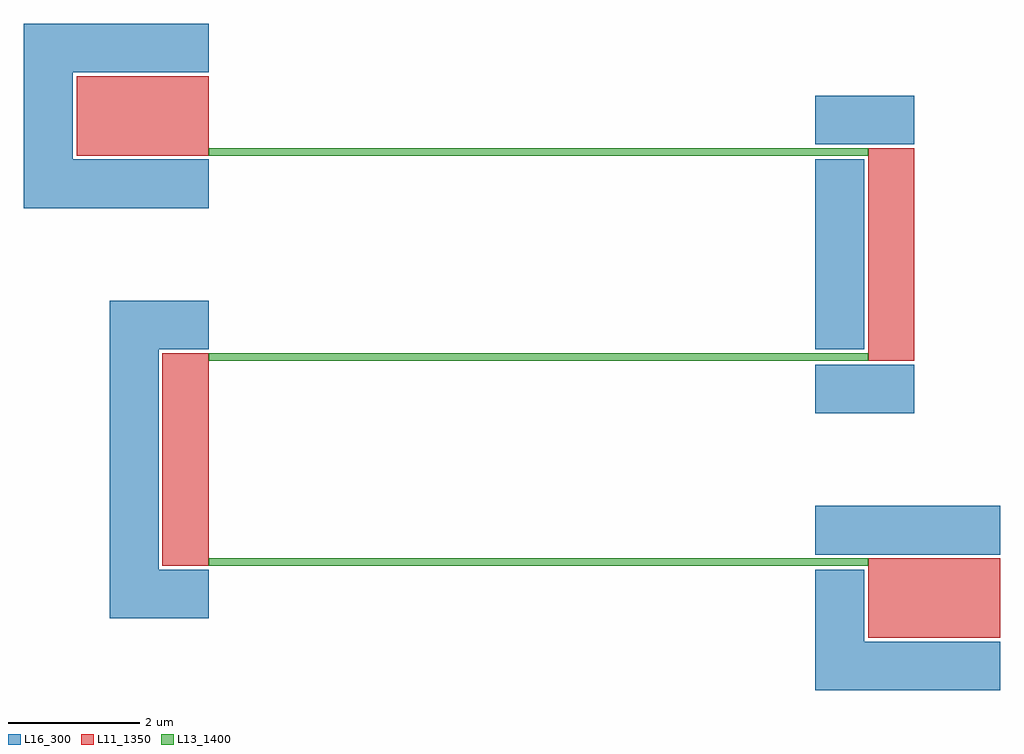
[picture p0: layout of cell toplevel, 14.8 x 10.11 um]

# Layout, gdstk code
import gdstk
lib = gdstk.Library(unit=1e-6, precision=1e-09)
def R(c, l, rs):  # rectangles x0, y0, x1, y1
    for r in rs: c.add(gdstk.rectangle(r[:2], r[2:], *l))
def P(c, l, *ps):  # polygons
    for p in ps: c.add(gdstk.Polygon(p, *l))
L11_1350 = (11, 1350)
L13_1400 = (13, 1400)
L16_300 = (16, 300)

rectangle006 = lib.new_cell('rectangle006')
R(rectangle006, L11_1350, [(0,0,0.7,3.22)])

arm_connector = lib.new_cell('Arm connector')
arm_connector.add(gdstk.Reference(rectangle006, (-0.7,-6.22)))

rectangle008 = lib.new_cell('rectangle008')
R(rectangle008, L11_1350, [(0,0,0.7,3.22)])

arm_connector007 = lib.new_cell('Arm connector007')
arm_connector007.add(gdstk.Reference(rectangle008, (10,-3.11)))

arms = lib.new_cell('Arms')
arms.add(gdstk.Reference(arm_connector, (0,0)))
arms.add(gdstk.Reference(arm_connector007, (0,0)))

rectangle = lib.new_cell('rectangle')
R(rectangle, L13_1400, [(0,0,10,0.11)])

resistive_segment = lib.new_cell('Resistive segment')
resistive_segment.add(gdstk.Reference(rectangle, (0,0)))

rectangle003 = lib.new_cell('rectangle003')
R(rectangle003, L13_1400, [(0,0,10,0.11)])

resistive_segment002 = lib.new_cell('Resistive segment002')
resistive_segment002.add(gdstk.Reference(rectangle003, (0,-3.11)))

rectangle005 = lib.new_cell('rectangle005')
R(rectangle005, L13_1400, [(0,0,10,0.11)])

resistive_segment004 = lib.new_cell('Resistive segment004')
resistive_segment004.add(gdstk.Reference(rectangle005, (0,-6.22)))

resistive_segments = lib.new_cell('Resistive segments')
resistive_segments.add(gdstk.Reference(resistive_segment, (0,0)))
resistive_segments.add(gdstk.Reference(resistive_segment002, (0,0)))
resistive_segments.add(gdstk.Reference(resistive_segment004, (0,0)))

boolean = lib.new_cell('boolean')
P(boolean, L16_300, [(0.7,-0.06),(-0.06,-0.06),(-0.06,3.28),(0.7,3.28),(0.7,4.02),(-0.8,4.02),(-0.8,-0.8),(0.7,-0.8)])

undercut = lib.new_cell('Undercut')
undercut.add(gdstk.Reference(boolean, (-0.7,-6.22)))

boolean009 = lib.new_cell('boolean009')
R(boolean009, L16_300, [(9.2,-3.91,10.7,-3.17), (9.2,-2.94,9.94,-0.06), (9.2,0.17,10.7,0.91)])

boolean013 = lib.new_cell('boolean013')
P(boolean013, L16_300, [(0,-0.06),(-2.06,-0.06),(-2.06,1.26),(0,1.26),(0,2),(-2.8,2),(-2.8,-0.8),(0,-0.8)])

undercut012 = lib.new_cell('Undercut012')
undercut012.add(gdstk.Reference(boolean013, (0,0)))

boolean016 = lib.new_cell('boolean016')
R(boolean016, L16_300, [(9.2,-6.05,12,-5.31)])
P(boolean016, L16_300, [(12,-7.37),(9.94,-7.37),(9.94,-6.28),(9.2,-6.28),(9.2,-8.11),(12,-8.11)])

undercut010 = lib.new_cell('Undercut010')
undercut010.add(gdstk.Reference(undercut012, (0,0)))
undercut010.add(gdstk.Reference(boolean016, (0,0)))

liftoff_undercut = lib.new_cell('Liftoff undercut')
liftoff_undercut.add(gdstk.Reference(undercut, (0,0)))
liftoff_undercut.add(gdstk.Reference(boolean009, (0,0)))
liftoff_undercut.add(gdstk.Reference(undercut010, (0,0)))

rectangle011 = lib.new_cell('rectangle011')
R(rectangle011, L11_1350, [(-2,0,0,1.2)])

connector = lib.new_cell('Connector')
connector.add(gdstk.Reference(rectangle011, (0,0)))

top_connector = lib.new_cell('Top connector')
top_connector.add(gdstk.Reference(connector, (0,0)))

rectangle015 = lib.new_cell('rectangle015')
R(rectangle015, L11_1350, [(-2,0,0,1.2)])

connector014 = lib.new_cell('Connector014')
connector014.add(gdstk.Reference(rectangle015, (12,-7.31)))

bot_connector = lib.new_cell('Bot connector')
bot_connector.add(gdstk.Reference(connector014, (0,0)))

toplevel = lib.new_cell('toplevel')
toplevel.add(gdstk.Reference(arms, (0,0)))
toplevel.add(gdstk.Reference(resistive_segments, (0,0)))
toplevel.add(gdstk.Reference(liftoff_undercut, (0,0)))
toplevel.add(gdstk.Reference(top_connector, (0,0)))
toplevel.add(gdstk.Reference(bot_connector, (0,0)))

lib.write_gds('toplevel.gds')
